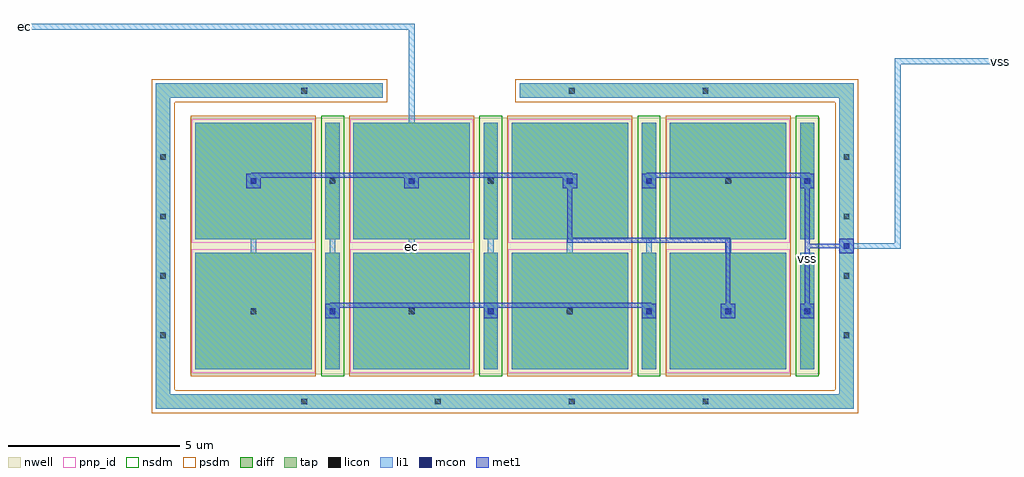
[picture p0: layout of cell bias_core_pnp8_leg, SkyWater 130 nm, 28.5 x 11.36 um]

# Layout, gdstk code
import gdstk
lib = gdstk.Library(unit=1e-6, precision=1e-09)
def R(c, l, rs):  # rectangles x0, y0, x1, y1
    for r in rs: c.add(gdstk.rectangle(r[:2], r[2:], *l))
def A(c, l, x, y, w, h, nx, ny, dx, dy):  # array of equal rectangles
    R(c, l, [(x+i*dx, y+j*dy, x+i*dx+w, y+j*dy+h) for i in range(nx) for j in range(ny)])
def P(c, l, *ps):  # polygons
    for p in ps: c.add(gdstk.Polygon(p, *l))
nwell = (64, 20)
diff = (65, 20)
tap = (65, 44)
licon = (66, 44)
li1 = (67, 20)
mcon = (67, 44)
met1 = (68, 20)
pnp_id = (82, 44)
nsdm = (93, 44)
psdm = (94, 20)

bjt_array = lib.new_cell('bjt_array')
R(bjt_array, nwell, [(-0.15,-0.15,18.23,7.35)])
A(bjt_array, diff, 0, 0, 3.4, 3.4, 4, 2, 4.62, 3.8)
A(bjt_array, diff, 3.8, 0, 0.42, 3.4, 4, 2, 4.62, 3.8)
A(bjt_array, tap, 3.8, 0, 0.42, 3.4, 4, 2, 4.62, 3.8)
P(bjt_array, tap, [(-1.15,-1.15),(-1.15,8.35),(5.475,8.35),(5.475,7.93),(-0.73,7.93),(-0.73,-0.73),(18.81,-0.73),(18.81,7.93),(9.475,7.93),(9.475,8.35),(19.23,8.35),(19.23,-1.15)])
A(bjt_array, licon, 1.615, 1.615, 0.17, 0.17, 8, 2, 2.31, 3.8)
R(bjt_array, licon, [(3.095,-1.025,3.265,-0.855), (7,-1.025,7.17,-0.855), (10.91,-1.025,11.08,-0.855), (14.815,-1.025,14.985,-0.855), (-1.025,0.915,-0.855,1.085), (18.935,0.915,19.105,1.085), (-1.025,2.65,-0.855,2.82), (18.935,2.65,19.105,2.82), (-1.025,4.38,-0.855,4.55), (18.935,4.38,19.105,4.55), (-1.025,6.115,-0.855,6.285), (18.935,6.115,19.105,6.285), (3.095,8.055,3.265,8.225), (10.91,8.055,11.08,8.225), (14.815,8.055,14.985,8.225)])
A(bjt_array, li1, 0, 0, 3.4, 3.4, 4, 2, 4.62, 3.8)
A(bjt_array, li1, 3.8, 0, 0.42, 3.4, 4, 2, 4.62, 3.8)
P(bjt_array, li1, [(-1.15,-1.15),(-1.15,8.35),(5.475,8.35),(5.475,7.93),(-0.73,7.93),(-0.73,-0.73),(18.81,-0.73),(18.81,7.93),(9.475,7.93),(9.475,8.35),(19.23,8.35),(19.23,-1.15)])
A(bjt_array, pnp_id, -0.1, -0.1, 3.6, 3.6, 4, 2, 4.62, 3.8)
A(bjt_array, nsdm, 3.675, -0.2, 0.67, 3.8, 4, 2, 4.62, 3.8)
A(bjt_array, psdm, -0.125, -0.2, 3.65, 3.8, 4, 2, 4.62, 3.8)
P(bjt_array, psdm, [(-1.275,-1.275),(-1.275,8.475),(5.6,8.475),(5.6,7.805),(-0.605,7.805),(-0.605,-0.605),(18.685,-0.605),(18.685,7.805),(9.35,7.805),(9.35,8.475),(19.355,8.475),(19.355,-1.275)])

array__pnp8 = lib.new_cell('array__pnp8')
array__pnp8.add(gdstk.Reference(bjt_array, (0,0)))

stub_ec__promo_stub = lib.new_cell('stub_ec__promo_stub')
R(stub_ec__promo_stub, li1, [(0,0,1.5,0.17)])

stub_vss__promo_stub = lib.new_cell('stub_vss__promo_stub')
R(stub_vss__promo_stub, li1, [(0,0,1.5,0.17)])

bias_core_pnp8_leg = lib.new_cell('bias_core_pnp8_leg')
R(bias_core_pnp8_leg, tap, [(18.81,3.39,19.23,3.81), (18.81,3.39,19.23,3.81), (18.81,3.39,19.23,3.81)])
R(bias_core_pnp8_leg, licon, [(18.935,3.515,19.105,3.685), (18.935,3.515,19.105,3.685), (18.935,3.515,19.105,3.685)])
A(bias_core_pnp8_leg, li1, 13.04, 1.49, 0.42, 0.42, 3, 1, 2.31, 0)
A(bias_core_pnp8_leg, li1, 1.59, 1.7, 0.22, 0.17, 7, 1, 2.31, 0)
A(bias_core_pnp8_leg, li1, 1.59, 5.5, 0.22, 0.17, 3, 1, 2.31, 0)
A(bias_core_pnp8_leg, li1, 6.21, 5.5, 0.22, 0.17, 5, 1, 2.31, 0)
R(bias_core_pnp8_leg, li1, [(3.8,1.49,4.22,1.91), (8.42,1.49,8.84,1.91), (8.42,1.49,8.84,1.91), (18.81,3.39,19.23,3.81), (18.81,3.39,19.23,3.81), (18.81,3.39,19.23,3.81), (18.81,3.39,19.23,3.81), (18.81,3.39,19.23,3.81), (1.49,5.29,1.91,5.71), (6.11,5.29,6.53,5.71), (6.11,5.29,6.53,5.71), (10.73,5.29,11.15,5.71), (10.73,5.29,11.15,5.71), (13.04,5.29,13.46,5.71), (17.66,5.29,18.08,5.71), (17.66,5.29,18.08,5.71)])
A(bias_core_pnp8_leg, mcon, 13.165, 1.615, 0.17, 0.17, 3, 1, 2.31, 0)
R(bias_core_pnp8_leg, mcon, [(3.925,1.615,4.095,1.785), (8.545,1.615,8.715,1.785), (8.545,1.615,8.715,1.785), (18.935,3.515,19.105,3.685), (18.935,3.515,19.105,3.685), (1.615,5.415,1.785,5.585), (6.235,5.415,6.405,5.585), (6.235,5.415,6.405,5.585), (10.855,5.415,11.025,5.585), (10.855,5.415,11.025,5.585), (13.165,5.415,13.335,5.585), (17.785,5.415,17.955,5.585), (17.785,5.415,17.955,5.585)])
A(bias_core_pnp8_leg, met1, 13.04, 1.49, 0.42, 0.42, 3, 1, 2.31, 0)
R(bias_core_pnp8_leg, met1, [(3.8,1.49,4.22,1.91), (8.42,1.49,8.84,1.91), (8.42,1.49,8.84,1.91), (18.81,3.39,19.23,3.81), (18.81,3.39,19.23,3.81), (1.49,5.29,1.91,5.71), (6.11,5.29,6.53,5.71), (6.11,5.29,6.53,5.71), (10.73,5.29,11.15,5.71), (10.73,5.29,11.15,5.71), (13.04,5.29,13.46,5.71), (17.66,5.29,18.08,5.71), (17.66,5.29,18.08,5.71)])
bias_core_pnp8_leg.add(gdstk.FlexPath([(8.63,1.7),(8.63,5.5)], 0.17, ends="flush", simple_path=True, layer=67, datatype=20))  # li1
bias_core_pnp8_leg.add(gdstk.FlexPath([(13.25,5.5),(13.25,1.7)], 0.17, ends="flush", simple_path=True, layer=67, datatype=20))  # li1
bias_core_pnp8_leg.add(gdstk.FlexPath([(4.01,1.7),(4.01,5.5)], 0.17, ends="flush", simple_path=True, layer=67, datatype=20))  # li1
bias_core_pnp8_leg.add(gdstk.FlexPath([(19.02,3.6),(20.51,3.6),(20.51,9),(22,9)], 0.17, ends="flush", simple_path=True, layer=67, datatype=20))  # li1
bias_core_pnp8_leg.add(gdstk.FlexPath([(6.32,1.7),(6.32,5.5)], 0.17, ends="flush", simple_path=True, layer=67, datatype=20))  # li1
bias_core_pnp8_leg.add(gdstk.FlexPath([(10.94,5.5),(10.94,1.7)], 0.17, ends="flush", simple_path=True, layer=67, datatype=20))  # li1
bias_core_pnp8_leg.add(gdstk.FlexPath([(1.7,1.7),(1.7,5.5)], 0.17, ends="flush", simple_path=True, layer=67, datatype=20))  # li1
bias_core_pnp8_leg.add(gdstk.FlexPath([(15.56,5.5),(15.56,1.7)], 0.17, ends="flush", simple_path=True, layer=67, datatype=20))  # li1
bias_core_pnp8_leg.add(gdstk.FlexPath([(6.32,5.5),(6.32,10),(-3.5,10)], 0.17, ends="flush", simple_path=True, layer=67, datatype=20))  # li1
bias_core_pnp8_leg.add(gdstk.FlexPath([(17.87,1.7),(17.87,3.6),(19.02,3.6)], 0.14, ends="flush", simple_path=True, layer=68, datatype=20))  # met1
bias_core_pnp8_leg.add(gdstk.FlexPath([(17.87,5.5),(17.87,3.6),(19.02,3.6)], 0.14, ends="flush", simple_path=True, layer=68, datatype=20))  # met1
bias_core_pnp8_leg.add(gdstk.FlexPath([(13.25,5.5),(13.25,5.67),(17.87,5.67),(17.87,5.5)], 0.14, ends="flush", simple_path=True, layer=68, datatype=20))  # met1
bias_core_pnp8_leg.add(gdstk.FlexPath([(8.63,1.7),(8.63,1.87),(4.01,1.87),(4.01,1.7)], 0.14, ends="flush", simple_path=True, layer=68, datatype=20))  # met1
bias_core_pnp8_leg.add(gdstk.FlexPath([(8.63,1.7),(8.63,1.87),(13.25,1.87),(13.25,1.7)], 0.14, ends="flush", simple_path=True, layer=68, datatype=20))  # met1
bias_core_pnp8_leg.add(gdstk.FlexPath([(10.94,5.5),(10.94,5.67),(6.32,5.67),(6.32,5.5)], 0.14, ends="flush", simple_path=True, layer=68, datatype=20))  # met1
bias_core_pnp8_leg.add(gdstk.FlexPath([(6.32,5.5),(6.32,5.67),(1.7,5.67),(1.7,5.5)], 0.14, ends="flush", simple_path=True, layer=68, datatype=20))  # met1
bias_core_pnp8_leg.add(gdstk.FlexPath([(10.94,5.5),(10.94,3.77),(15.56,3.77),(15.56,1.7)], 0.14, ends="flush", simple_path=True, layer=68, datatype=20))  # met1
bias_core_pnp8_leg.add(gdstk.Reference(array__pnp8, (0,0)))
bias_core_pnp8_leg.add(gdstk.Reference(stub_ec__promo_stub, (-5,9.915)))
bias_core_pnp8_leg.add(gdstk.Reference(stub_vss__promo_stub, (22,8.915)))
bias_core_pnp8_leg.add(gdstk.Label('vss', (17.87,3.225), layer=68, texttype=5))
bias_core_pnp8_leg.add(gdstk.Label('ec', (6.32,3.6), layer=67, texttype=5))
bias_core_pnp8_leg.add(gdstk.Label('ec', (-5,10), layer=67, texttype=5))
bias_core_pnp8_leg.add(gdstk.Label('vss', (23.5,9), layer=67, texttype=5))

lib.write_gds('bias_core_pnp8_leg.gds')
